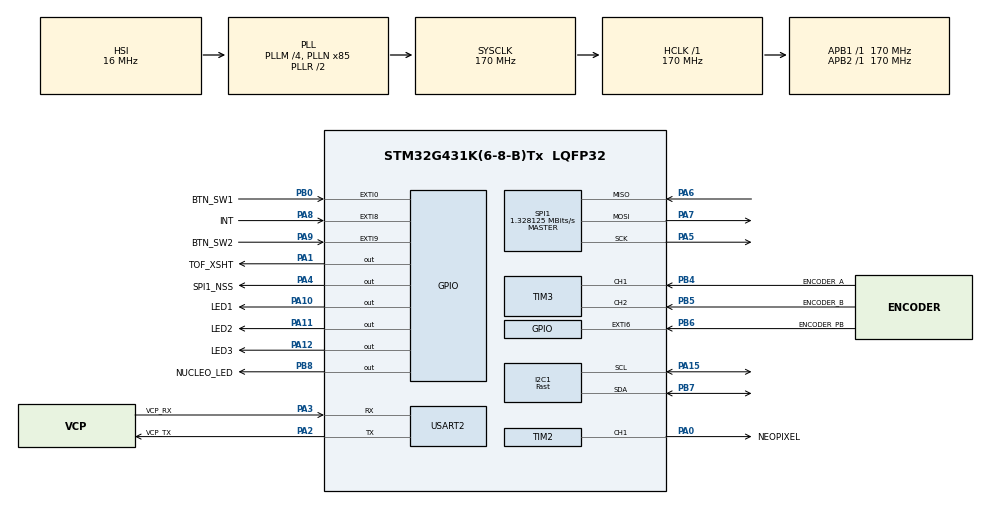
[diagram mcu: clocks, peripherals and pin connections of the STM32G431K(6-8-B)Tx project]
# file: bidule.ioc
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Dma.I2C1_TX.1.Direction=DMA_MEMORY_TO_PERIPH
Dma.I2C1_TX.1.EventEnable=DISABLE
Dma.I2C1_TX.1.Instance=DMA1_Channel2
Dma.I2C1_TX.1.MemDataAlignment=DMA_MDATAALIGN_BYTE
Dma.I2C1_TX.1.MemInc=DMA_MINC_ENABLE
Dma.I2C1_TX.1.Mode=DMA_NORMAL
Dma.I2C1_TX.1.PeriphDataAlignment=DMA_PDATAALIGN_BYTE
Dma.I2C1_TX.1.PeriphInc=DMA_PINC_DISABLE
Dma.I2C1_TX.1.Polarity=HAL_DMAMUX_REQ_GEN_RISING
Dma.I2C1_TX.1.Priority=DMA_PRIORITY_LOW
Dma.I2C1_TX.1.RequestNumber=1
Dma.I2C1_TX.1.SignalID=NONE
Dma.I2C1_TX.1.SyncEnable=DISABLE
Dma.I2C1_TX.1.SyncPolarity=HAL_DMAMUX_SYNC_NO_EVENT
Dma.I2C1_TX.1.SyncRequestNumber=1
Dma.I2C1_TX.1.SyncSignalID=NONE
Dma.Request0=TIM2_CH1
Dma.Request1=I2C1_TX
Dma.TIM2_CH1.0.Direction=DMA_MEMORY_TO_PERIPH
Dma.TIM2_CH1.0.EventEnable=DISABLE
Dma.TIM2_CH1.0.Instance=DMA1_Channel1
Dma.TIM2_CH1.0.MemDataAlignment=DMA_MDATAALIGN_BYTE
Dma.TIM2_CH1.0.MemInc=DMA_MINC_ENABLE
Dma.TIM2_CH1.0.Mode=DMA_CIRCULAR
Dma.TIM2_CH1.0.PeriphDataAlignment=DMA_PDATAALIGN_WORD
Dma.TIM2_CH1.0.PeriphInc=DMA_PINC_DISABLE
Dma.TIM2_CH1.0.Polarity=HAL_DMAMUX_REQ_GEN_RISING
Dma.TIM2_CH1.0.Priority=DMA_PRIORITY_LOW
Dma.TIM2_CH1.0.RequestNumber=1
Dma.TIM2_CH1.0.SignalID=NONE
Dma.TIM2_CH1.0.SyncEnable=DISABLE
Dma.TIM2_CH1.0.SyncPolarity=HAL_DMAMUX_SYNC_NO_EVENT
Dma.TIM2_CH1.0.SyncRequestNumber=1
Dma.TIM2_CH1.0.SyncSignalID=NONE
FREERTOS.Tasks01=defaultTask,0,128,StartDefaultTask,Default,NULL,Dynamic,NULL,NULL
FREERTOS.configTIMER_TASK_PRIORITY=4
FREERTOS.configTOTAL_HEAP_SIZE=8192
FREERTOS.configUSE_TIMERS=1
I2C1.I2C_Speed_Mode=I2C_Fast
I2C1.Timing=0x40621236
Mcu.Family=STM32G4
Mcu.Name=STM32G431K(6-8-B)Tx
Mcu.Package=LQFP32
NVIC.DMA1_Channel1_IRQn=true\:5\:0\:false\:false\:true\:true\:false\:true\:true
NVIC.DMA1_Channel2_IRQn=true\:5\:0\:false\:false\:true\:true\:false\:true\:true
NVIC.EXTI0_IRQn=true\:5\:0\:false\:false\:true\:true\:true\:true\:true
NVIC.EXTI9_5_IRQn=true\:5\:0\:false\:false\:true\:true\:true\:true\:true
NVIC.I2C1_ER_IRQn=true\:5\:0\:false\:false\:true\:true\:true\:true\:true
NVIC.I2C1_EV_IRQn=true\:5\:0\:false\:false\:true\:true\:true\:true\:true
NVIC.PriorityGroup=NVIC_PRIORITYGROUP_4
NVIC.TIM2_IRQn=true\:5\:0\:false\:false\:true\:true\:true\:true\:true
NVIC.TIM6_DAC_IRQn=true\:4\:0\:false\:false\:true\:false\:false\:true\:true
NVIC.TimeBase=TIM6_DAC_IRQn
NVIC.TimeBaseIP=TIM6
NVIC.USART2_IRQn=true\:5\:0\:false\:false\:true\:true\:true\:true\:true
PA0.GPIO_Label=NEOPIXEL
PA0.Signal=S_TIM2_CH1
PA1.GPIO_Label=TOF_XSHT
PA1.Signal=GPIO_Output
PA10.GPIO_Label=LED1
PA10.Signal=GPIO_Output
PA11.GPIO_Label=LED2
PA11.Signal=GPIO_Output
PA12.GPIO_Label=LED3
PA12.Signal=GPIO_Output
PA13.GPIO_Label=T_SWDIO
PA13.Mode=Trace_Asynchronous_SW
PA13.Signal=SYS_JTMS-SWDIO
PA14.GPIO_Label=T_SWCLK
PA14.Mode=Trace_Asynchronous_SW
PA14.Signal=SYS_JTCK-SWCLK
PA15.GPIO_Pu=GPIO_PULLUP
PA15.Mode=I2C
PA15.Signal=I2C1_SCL
PA2.GPIO_Label=VCP_TX
PA2.Mode=Asynchronous
PA2.Signal=USART2_TX
PA3.GPIO_Label=VCP_RX
PA3.Mode=Asynchronous
PA3.Signal=USART2_RX
PA4.GPIO_Label=SPI1_NSS
PA4.PinState=GPIO_PIN_SET
PA4.Signal=GPIO_Output
PA5.GPIO_Speed=GPIO_SPEED_FREQ_LOW
PA5.Mode=Full_Duplex_Master
PA5.Signal=SPI1_SCK
PA6.GPIO_Speed=GPIO_SPEED_FREQ_LOW
PA6.Mode=Full_Duplex_Master
PA6.Signal=SPI1_MISO
PA7.GPIO_Speed=GPIO_SPEED_FREQ_LOW
PA7.Mode=Full_Duplex_Master
PA7.Signal=SPI1_MOSI
PA8.GPIO_Label=INT
PA8.Signal=GPXTI8
PA9.GPIO_Label=BTN_SW2
PA9.GPIO_ModeDefaultEXTI=GPIO_MODE_IT_FALLING
PA9.GPIO_PuPd=GPIO_PULLUP
PA9.Signal=GPXTI9
PB0.GPIO_Label=BTN_SW1
PB0.GPIO_ModeDefaultEXTI=GPIO_MODE_IT_FALLING
PB0.GPIO_PuPd=GPIO_PULLUP
PB0.Signal=GPXTI0
PB3.GPIO_Label=T_SWO
PB3.Mode=Trace_Asynchronous_SW
PB3.Signal=SYS_JTDO-SWO
PB4.GPIO_Label=ENCODER_A
PB4.GPIO_PuPd=GPIO_PULLUP
PB4.Signal=S_TIM3_CH1
PB5.GPIO_Label=ENCODER_B
PB5.GPIO_PuPd=GPIO_PULLUP
PB5.Signal=S_TIM3_CH2
PB6.GPIO_Label=ENCODER_PB
PB6.GPIO_PuPd=GPIO_PULLUP
PB6.Signal=GPXTI6
PB7.GPIO_Pu=GPIO_PULLUP
PB7.Mode=I2C
PB7.Signal=I2C1_SDA
PB8-BOOT0.GPIO_Label=NUCLEO_LED
PB8-BOOT0.Signal=GPIO_Output
ProjectManager.HeapSize=0x200
ProjectManager.StackSize=0x400
ProjectManager.TargetToolchain=CMake
RCC.ADC12Freq_Value=170000000
RCC.AHBFreq_Value=170000000
RCC.APB1Freq_Value=170000000
RCC.APB1TimFreq_Value=170000000
RCC.APB2Freq_Value=170000000
RCC.APB2TimFreq_Value=170000000
RCC.CortexFreq_Value=170000000
RCC.EXTERNAL_CLOCK_VALUE=12288000
RCC.HCLKFreq_Value=170000000
RCC.HSE_VALUE=8000000
RCC.HSI48_VALUE=48000000
RCC.HSI_VALUE=16000000
RCC.LSE_VALUE=32768
RCC.PLLM=RCC_PLLM_DIV4
RCC.PLLN=85
RCC.SYSCLKFreq_VALUE=170000000
RCC.SYSCLKSource=RCC_SYSCLKSOURCE_PLLCLK
RCC.USBFreq_Value=170000000
RCC.VCOOutputFreq_Value=340000000
SH.S_TIM2_CH1.0=TIM2_CH1,PWM Generation1 CH1
SH.S_TIM3_CH1.0=TIM3_CH1,Encoder_Interface
SH.S_TIM3_CH2.0=TIM3_CH2,Encoder_Interface
SPI1.BaudRatePrescaler=SPI_BAUDRATEPRESCALER_128
SPI1.CLKPhase=SPI_PHASE_2EDGE
SPI1.CLKPolarity=SPI_POLARITY_HIGH
SPI1.CalculateBaudRate=1.328125 MBits/s
SPI1.DataSize=SPI_DATASIZE_8BIT
SPI1.Direction=SPI_DIRECTION_2LINES
SPI1.Mode=SPI_MODE_MASTER
SPI1.VirtualType=VM_MASTER
TIM2.Channel-PWM\ Generation1\ CH1=TIM_CHANNEL_1
TIM2.PeriodNoDither=212
USART2.VirtualMode-Asynchronous=VM_ASYNC
VP_FREERTOS_VS_CMSIS_V1.Mode=CMSIS_V1
VP_SYS_VS_DBSignals.Mode=DisableDeadBatterySignals
VP_SYS_VS_tim6.Mode=TIM6
board=NUCLEO-G431KB

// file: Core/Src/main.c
/* USER CODE BEGIN Header */
/**
 ******************************************************************************
 * @file           : main.c
 * @brief          : Main program body
 ******************************************************************************
 * @attention
 *
 * Copyright (c) 2026 STMicroelectronics.
 * All rights reserved.
 *
 * This software is licensed under terms that can be found in the LICENSE file
 * in the root directory of this software component.
 * If no LICENSE file comes with this software, it is provided AS-IS.
 *
 ******************************************************************************
 */
/* USER CODE END Header */
#include "main.h"
#include "cmsis_os.h"
#include "dma.h"
#include "i2c.h"
#include "spi.h"
#include "tim.h"
#include "usart.h"
#include "gpio.h"

/* USER CODE BEGIN Includes */
#include <stdio.h>
#include <stdbool.h>
#include "bsp.h"
#include "app.h"
#include "stats.h"
/* USER CODE END Includes */

/* USER CODE BEGIN PM */
#define LED_BLINK_PERIOD 250
/* USER CODE END PM */

void SystemClock_Config(void);
void MX_FREERTOS_Init(void);

/* USER CODE BEGIN 0 */
int _write(int file, char *ptr, int len) {
	HAL_UART_Transmit(&huart2, (uint8_t *)ptr, len, HAL_MAX_DELAY);
	return len;
}
/* USER CODE END 0 */

int main(void)
{

  /* MCU Configuration--------------------------------------------------------*/

  /* Reset of all peripherals, Initializes the Flash interface and the Systick. */
  HAL_Init();

  /* Configure the system clock */
  SystemClock_Config();

  /* Initialize all configured peripherals */
  MX_GPIO_Init();
  MX_DMA_Init();
  MX_I2C1_Init();
  MX_TIM3_Init();
  MX_TIM2_Init();
  MX_USART2_UART_Init();
  MX_SPI1_Init();
  /* USER CODE BEGIN 2 */
	printf("\r\n===== TD5 RTOS =====\r\n");

	/* Chaque module crée sa propre tâche. Le main choisit les priorités :
	 * l'ordonnancement global se lit ici, en un seul endroit. */
	bsp_init(3);			/* entrées : courte, bloque souvent : la plus prioritaire */
	bsp_init_display(1);	/* affichage : long, peu urgent (avant app_init) */
	app_init(2);			/* objet actif : crée sa file et sa tâche */
//	stats_init(1);			/* statistiques : affichage lent, priorité basse */

//	printf("... All tasks are created\r\n");

	vTaskStartScheduler();

	/* vTaskStartScheduler() ne retourne jamais... sauf si le tas FreeRTOS est
	 * trop petit pour créer les tâches Idle (et timer) : on ne doit pas continuer. */
	printf("Failed starting the scheduler (FreeRTOS heap too small?)\r\n");
	Error_Handler();
  /* USER CODE END 2 */

  /* Call init function for freertos objects (in cmsis_os2.c) */
  MX_FREERTOS_Init();

  /* Start scheduler */
  osKernelStart();

  /* We should never get here as control is now taken by the scheduler */

  /* Infinite loop */
	while (1) {

	}
}

void SystemClock_Config(void)
{
  RCC_OscInitTypeDef RCC_OscInitStruct = {0};
  RCC_ClkInitTypeDef RCC_ClkInitStruct = {0};

  /** Configure the main internal regulator output voltage
  */
  HAL_PWREx_ControlVoltageScaling(PWR_REGULATOR_VOLTAGE_SCALE1_BOOST);

  /** Initializes the RCC Oscillators according to the specified parameters
  * in the RCC_OscInitTypeDef structure.
  */
  RCC_OscInitStruct.OscillatorType = RCC_OSCILLATORTYPE_HSI;
  RCC_OscInitStruct.HSIState = RCC_HSI_ON;
  RCC_OscInitStruct.HSICalibrationValue = RCC_HSICALIBRATION_DEFAULT;
  RCC_OscInitStruct.PLL.PLLState = RCC_PLL_ON;
  RCC_OscInitStruct.PLL.PLLSource = RCC_PLLSOURCE_HSI;
  RCC_OscInitStruct.PLL.PLLM = RCC_PLLM_DIV4;
  RCC_OscInitStruct.PLL.PLLN = 85;
  RCC_OscInitStruct.PLL.PLLP = RCC_PLLP_DIV2;
  RCC_OscInitStruct.PLL.PLLQ = RCC_PLLQ_DIV2;
  RCC_OscInitStruct.PLL.PLLR = RCC_PLLR_DIV2;
  if (HAL_RCC_OscConfig(&RCC_OscInitStruct) != HAL_OK)
  {
    Error_Handler();
  }

  /** Initializes the CPU, AHB and APB buses clocks
  */
  RCC_ClkInitStruct.ClockType = RCC_CLOCKTYPE_HCLK|RCC_CLOCKTYPE_SYSCLK
                              |RCC_CLOCKTYPE_PCLK1|RCC_CLOCKTYPE_PCLK2;
  RCC_ClkInitStruct.SYSCLKSource = RCC_SYSCLKSOURCE_PLLCLK;
  RCC_ClkInitStruct.AHBCLKDivider = RCC_SYSCLK_DIV1;
  RCC_ClkInitStruct.APB1CLKDivider = RCC_HCLK_DIV1;
  RCC_ClkInitStruct.APB2CLKDivider = RCC_HCLK_DIV1;

  if (HAL_RCC_ClockConfig(&RCC_ClkInitStruct, FLASH_LATENCY_4) != HAL_OK)
  {
    Error_Handler();
  }
}

void HAL_TIM_PeriodElapsedCallback(TIM_HandleTypeDef *htim)
{
  if (htim->Instance == TIM6)
  {
    HAL_IncTick();
  }
}

void Error_Handler(void)
{
	__disable_irq();
	while (1)
	{
	}
}
